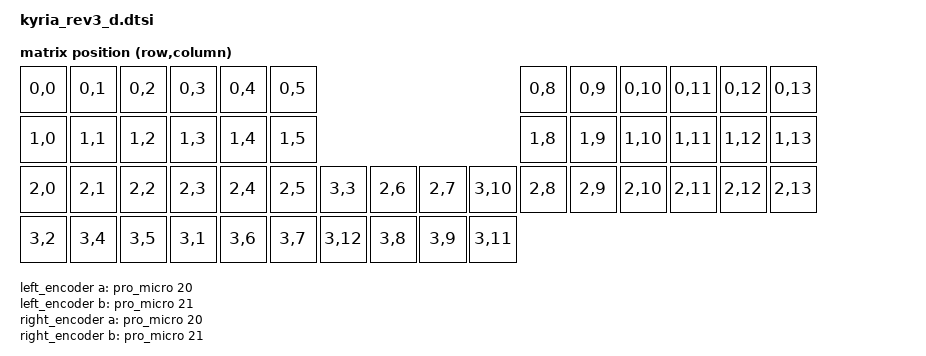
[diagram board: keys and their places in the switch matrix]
/*
 * Kyria rev3 with PS/2 trackpoint ("kyria_rev3_d").
 *
 * Flattened from the in-tree kyria shield (kyria_common.dtsi + kyria_rev3)
 * for this single hardware variant.
 *
 * SPDX-License-Identifier: MIT
 */

#include <dt-bindings/zmk/matrix_transform.h>

#include "kyria-layouts.dtsi"

/ {
    chosen {
        zmk,kscan = &kscan0;
        zmk,physical-layout = &splitkb_kyria_6col_layout;
    };

    kscan0: kscan {
        compatible = "zmk,kscan-gpio-matrix";
        wakeup-source;

        diode-direction = "col2row";
    };

    // ALPS 36-detent encoders (Mouser), 18 pulse-cycles/rotation = 72
    // quadrature edges. With triggers-per-rotation = 36 each detent is
    // exactly one trigger (10 degrees), no remainder drift.
    left_encoder: encoder_left {
        compatible = "alps,ec11";
        steps = <72>;
        a-gpios = <&pro_micro 20 (GPIO_ACTIVE_HIGH | GPIO_PULL_UP)>;
        b-gpios = <&pro_micro 21 (GPIO_ACTIVE_HIGH | GPIO_PULL_UP)>;
        status = "disabled";
    };

    // On the right half this EC11 node stays disabled: the right overlay
    // decodes its encoder with the nRF52840 hardware QDEC instead.
    right_encoder: encoder_right {
        compatible = "alps,ec11";
        steps = <72>;
        a-gpios = <&pro_micro 20 (GPIO_ACTIVE_HIGH | GPIO_PULL_UP)>;
        b-gpios = <&pro_micro 21 (GPIO_ACTIVE_HIGH | GPIO_PULL_UP)>;
        status = "disabled";
    };

    sensors: sensors {
        compatible = "zmk,keymap-sensors";
        sensors = <&left_encoder &right_encoder>;
        triggers-per-rotation = <36>;
    };

    default_transform: keymap_transform_0 {
        compatible = "zmk,matrix-transform";
        columns = <14>;
        rows = <4>;
        // | MX6  | MX5  | MX4  | MX3  | MX2  | MX1  |                               | MX1  | MX2  | MX3  | MX4  | MX5  | MX6  |
        // | MX12 | MX11 | MX10 | MX9  | MX8  | MX7  |                               | MX7  | MX8  | MX9  | MX10 | MX11 | MX12 |
        // | MX20 | MX19 | MX18 | MX17 | MX16 | MX15 | MX14 | MX13 |   | MX13 | MX14 | MX15 | MX16 | MX17 | MX18 | MX19 | MX20 |
        //                    | MX25 | MX24 | MX23 | MX22 | MX21 |       | MX21 | MX22 | MX23 | MX24 | MX25 |
        map = <
        RC(0,0) RC(0,1) RC(0,2) RC(0,3) RC(0,4) RC(0,5)                                  RC(0,8) RC(0,9) RC(0,10) RC(0,11) RC(0,12) RC(0,13)
        RC(1,0) RC(1,1) RC(1,2) RC(1,3) RC(1,4) RC(1,5)                                  RC(1,8) RC(1,9) RC(1,10) RC(1,11) RC(1,12) RC(1,13)
        RC(2,0) RC(2,1) RC(2,2) RC(2,3) RC(2,4) RC(2,5) RC(3,3) RC(2,6) RC(2,7) RC(3,10) RC(2,8) RC(2,9) RC(2,10) RC(2,11) RC(2,12) RC(2,13)
        RC(3,2) RC(3,4) RC(3,5) RC(3,1) RC(3,6) RC(3,7) RC(3,12) RC(3,8) RC(3,9) RC(3,11)
        >;
    };
};

&splitkb_kyria_6col_layout {
    transform = <&default_transform>;
};

/*
 * PS/2 Mouse / Trackpoint
 *
 * Driver: badjeff/kb_zmk_ps2_mouse_trackpoint_driver (UART-based PS/2).
 * Everything stays disabled here; the right half enables it in its overlay.
 */

#define MOUSE_PS2_PIN_SCL_PRO_MICRO <&gpio0 20 GPIO_ACTIVE_HIGH>
#define MOUSE_PS2_PIN_SDA_PRO_MICRO <&gpio0 17 GPIO_ACTIVE_HIGH>
// Same SDA pin (line above) needs to be defined in pinctrl notation as well
#define MOUSE_PS2_PIN_SDA_PINCTRL <NRF_PSEL(UART_RX, 0, 17)>
// Power on reset pin, should change this to low frequency pin
#define MOUSE_PS2_PIN_RST_PRO_MICRO <&pro_micro 0 GPIO_ACTIVE_HIGH>
// Next two lines refer to unused pins that are not exposed on nice!nano board, but are required in the configuration.
#define MOUSE_PS2_PIN_UNEXPOSED_TX <NRF_PSEL(UART_TX, 0, 27)>
#define MOUSE_PS2_PIN_UNEXPOSED_RX <NRF_PSEL(UART_RX, 0, 28)>

&pinctrl {
    uart0_ps2_default: uart0_ps2_default {
        group1 {
            psels = MOUSE_PS2_PIN_UNEXPOSED_TX,
                    MOUSE_PS2_PIN_SDA_PINCTRL;
        };
    };

    uart0_ps2_sleep: uart0_ps2_sleep {
        group1 {
            psels = MOUSE_PS2_PIN_UNEXPOSED_TX,
                    MOUSE_PS2_PIN_SDA_PINCTRL;
            low-power-enable;
        };
    };

    uart0_ps2_off: uart0_ps2_off {
        group1 {
            psels = MOUSE_PS2_PIN_UNEXPOSED_TX,
                    MOUSE_PS2_PIN_UNEXPOSED_RX;
        };
    };
};

&uart0 {
    status = "disabled";
    compatible = "nordic,nrf-uarte";
    current-speed = <14400>;
    pinctrl-0 = <&uart0_ps2_default>;
    pinctrl-1 = <&uart0_ps2_off>;

    pinctrl-names = "default", "sleep";

    uart_ps2: uart_ps2 {
        status = "disabled";
        compatible = "uart-ps2";
        scl-gpios = MOUSE_PS2_PIN_SCL_PRO_MICRO;
        sda-gpios = MOUSE_PS2_PIN_SDA_PRO_MICRO;
    };
};

/ {
    mouse_ps2: mouse_ps2 {
        status = "disabled";
        compatible = "zmk,input-mouse-ps2";

        ps2-device = <&uart_ps2>;
        rst-gpios = MOUSE_PS2_PIN_RST_PRO_MICRO;
    };
};
